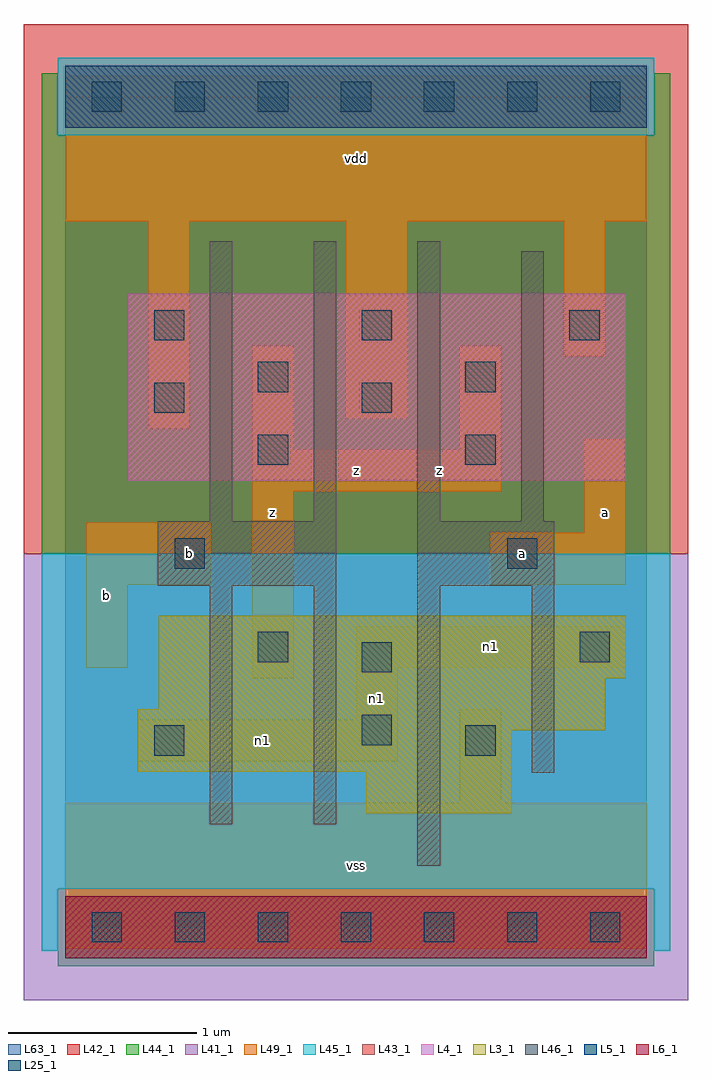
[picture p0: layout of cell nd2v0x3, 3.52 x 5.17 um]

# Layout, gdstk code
import gdstk
lib = gdstk.Library(unit=1e-6, precision=1e-09)
def R(c, l, rs):  # rectangles x0, y0, x1, y1
    for r in rs: c.add(gdstk.rectangle(r[:2], r[2:], *l))
def A(c, l, x, y, w, h, nx, ny, dx, dy):  # array of equal rectangles
    R(c, l, [(x+i*dx, y+j*dy, x+i*dx+w, y+j*dy+h) for i in range(nx) for j in range(ny)])
L3_1 = (3, 1)
L4_1 = (4, 1)
L5_1 = (5, 1)
L6_1 = (6, 1)
L25_1 = (25, 1)
L41_1 = (41, 1)
L42_1 = (42, 1)
L43_1 = (43, 1)
L44_1 = (44, 1)
L45_1 = (45, 1)
L46_1 = (46, 1)
L49_1 = (49, 1)
L63_1 = (63, 1)

nd2v0x3 = lib.new_cell('nd2v0x3')
R(nd2v0x3, L3_1, [(1.595,0.605,2.365,0.825), (0.385,0.825,2.365,1.045), (0.385,1.045,2.86,1.155), (0.495,1.155,2.86,1.32), (0.495,1.32,2.97,1.65)])
R(nd2v0x3, L4_1, [(0.33,2.365,2.97,3.355)])
R(nd2v0x3, L5_1, [(0,4.235,3.08,4.565)])
R(nd2v0x3, L6_1, [(0,-0.165,3.08,0.165)])
A(nd2v0x3, L25_1, 0.14, -0.08, 0.16, 0.16, 7, 2, 0.44, 4.4)
A(nd2v0x3, L25_1, 0.47, 3.11, 0.16, 0.16, 3, 1, 1.1, 0)
R(nd2v0x3, L25_1, [(0.47,0.91,0.63,1.07), (2.12,0.91,2.28,1.07), (1.57,0.965,1.73,1.125), (1.57,1.35,1.73,1.51), (1.02,1.405,1.18,1.565), (2.725,1.405,2.885,1.565), (0.58,1.9,0.74,2.06), (2.34,1.9,2.5,2.06), (1.02,2.45,1.18,2.61), (2.12,2.45,2.28,2.61), (0.47,2.725,0.63,2.885), (1.57,2.725,1.73,2.885), (1.02,2.835,1.18,2.995), (2.12,2.835,2.28,2.995)])
R(nd2v0x3, L41_1, [(-0.22,-0.385,3.3,1.98)])
R(nd2v0x3, L42_1, [(-0.22,1.98,3.3,4.785)])
R(nd2v0x3, L43_1, [(0,-0.165,3.08,0.165), (1.595,0.605,2.365,0.825), (0.385,0.825,2.365,1.045), (0.385,1.045,2.86,1.155), (0.495,1.155,2.86,1.32), (0.495,1.32,2.97,1.65), (0.33,2.365,2.97,3.355), (0,4.235,3.08,4.565)])
R(nd2v0x3, L44_1, [(-0.04,-0.205,3.12,0.205), (-0.125,1.98,3.205,4.195), (-0.125,4.195,-0.04,4.525), (3.12,4.195,3.205,4.525)])
R(nd2v0x3, L45_1, [(-0.125,-0.125,-0.04,0.205), (3.12,-0.125,3.205,0.205), (-0.125,0.205,3.205,1.98), (-0.04,4.195,3.12,4.605)])
A(nd2v0x3, L46_1, 0.765, 2.15, 0.12, 1.485, 3, 1, 0.55, 0)
R(nd2v0x3, L46_1, [(1.865,0.325,1.985,1.81), (0.765,0.545,0.885,1.81), (1.315,0.545,1.435,1.81), (2.47,0.82,2.59,1.81), (0.49,1.81,1.435,2.15), (1.865,1.81,2.59,2.15), (2.415,2.15,2.535,3.58)])
R(nd2v0x3, L49_1, [(0,-0.11,3.08,0.66), (2.09,0.66,2.31,1.155), (0.385,0.88,1.76,1.1), (1.54,1.1,1.76,1.375), (0.99,1.32,1.21,2.31), (0.11,1.375,0.33,1.815), (1.54,1.375,2.97,1.595), (0.11,1.815,0.77,2.145), (2.255,1.815,2.97,2.09), (2.75,2.09,2.97,2.585), (0.99,2.31,2.31,2.53), (0.99,2.53,1.21,3.08), (2.09,2.53,2.31,3.08), (0.44,2.64,0.66,3.74), (1.485,2.695,1.815,3.74), (2.64,3.025,2.86,3.74), (0,3.74,3.08,4.51)])
R(nd2v0x3, L63_1, [(0,0,3.08,4.4)])
nd2v0x3.add(gdstk.Label('b', (0.22,1.76), layer=49, texttype=1))
nd2v0x3.add(gdstk.Label('b', (0.66,1.98), layer=49, texttype=1))
nd2v0x3.add(gdstk.Label('z', (1.1,2.2), layer=49, texttype=1))
nd2v0x3.add(gdstk.Label('vss', (1.54,0.33), layer=49, texttype=1))
nd2v0x3.add(gdstk.Label('n1', (1.65,1.21), layer=49, texttype=1))
nd2v0x3.add(gdstk.Label('n1', (1.045,0.99), layer=49, texttype=1))
nd2v0x3.add(gdstk.Label('z', (1.98,2.42), layer=49, texttype=1))
nd2v0x3.add(gdstk.Label('z', (1.54,2.42), layer=49, texttype=1))
nd2v0x3.add(gdstk.Label('vdd', (1.54,4.07), layer=49, texttype=1))
nd2v0x3.add(gdstk.Label('a', (2.42,1.98), layer=49, texttype=1))
nd2v0x3.add(gdstk.Label('n1', (2.255,1.485), layer=49, texttype=1))
nd2v0x3.add(gdstk.Label('a', (2.86,2.2), layer=49, texttype=1))

lib.write_gds('nd2v0x3.gds')
